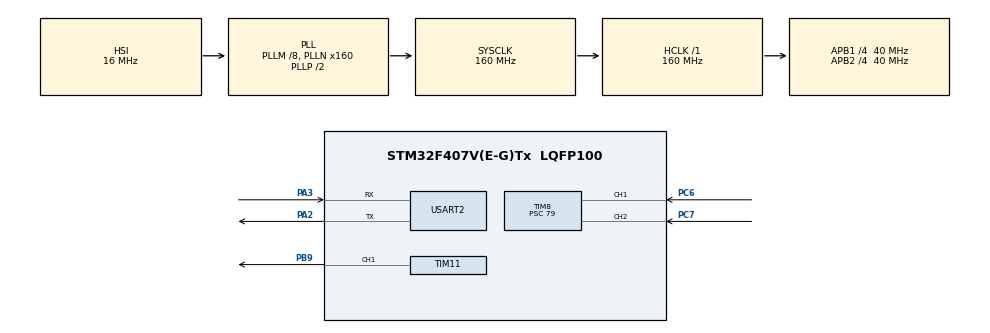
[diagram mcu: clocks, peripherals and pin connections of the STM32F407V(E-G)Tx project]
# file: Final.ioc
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Mcu.Family=STM32F4
Mcu.Name=STM32F407V(E-G)Tx
Mcu.Package=LQFP100
NVIC.PriorityGroup=NVIC_PRIORITYGROUP_4
PA13.Mode=Serial_Wire
PA13.Signal=SYS_JTMS-SWDIO
PA14.Mode=Serial_Wire
PA14.Signal=SYS_JTCK-SWCLK
PA2.Mode=Asynchronous
PA2.Signal=USART2_TX
PA3.Mode=Asynchronous
PA3.Signal=USART2_RX
PB9.Signal=S_TIM11_CH1
PC6.Signal=S_TIM8_CH1
PC7.Signal=S_TIM8_CH2
PH0-OSC_IN.Mode=HSE-External-Oscillator
PH0-OSC_IN.Signal=RCC_OSC_IN
PH1-OSC_OUT.Mode=HSE-External-Oscillator
PH1-OSC_OUT.Signal=RCC_OSC_OUT
ProjectManager.HeapSize=0x200
ProjectManager.StackSize=0x400
ProjectManager.TargetToolchain=MDK-ARM V5
RCC.48MHZClocksFreq_Value=80000000
RCC.AHBFreq_Value=160000000
RCC.APB1CLKDivider=RCC_HCLK_DIV4
RCC.APB1Freq_Value=40000000
RCC.APB1TimFreq_Value=80000000
RCC.APB2CLKDivider=RCC_HCLK_DIV4
RCC.APB2Freq_Value=40000000
RCC.APB2TimFreq_Value=80000000
RCC.CortexFreq_Value=160000000
RCC.HCLKFreq_Value=160000000
RCC.HSE_VALUE=25000000
RCC.HSI_VALUE=16000000
RCC.LSE_VALUE=32768
RCC.PLLM=8
RCC.PLLN=160
RCC.SYSCLKFreq_VALUE=160000000
RCC.SYSCLKSource=RCC_SYSCLKSOURCE_PLLCLK
RCC.VCOOutputFreq_Value=320000000
SH.S_TIM11_CH1.0=TIM11_CH1,PWM Generation1 CH1
SH.S_TIM8_CH1.0=TIM8_CH1,Input_Capture1_from_TI1
SH.S_TIM8_CH2.0=TIM8_CH2,TriggerSource_TI2FP2
SH.S_TIM8_CH2.1=TIM8_CH2,Input_Capture2_from_TI2
TIM11.Channel=TIM_CHANNEL_1
TIM11.Period=39999
TIM11.Prescaler=199
TIM8.Channel-Input_Capture1_from_TI1=TIM_CHANNEL_1
TIM8.Channel-Input_Capture2_from_TI2=TIM_CHANNEL_2
TIM8.ICPolarity_CH1=TIM_INPUTCHANNELPOLARITY_BOTHEDGE
TIM8.ICPolarity_CH2=TIM_INPUTCHANNELPOLARITY_BOTHEDGE
TIM8.Period=65535
TIM8.Prescaler=79
USART2.VirtualMode=VM_ASYNC
VP_TIM11_VS_ClockSourceINT.Mode=Enable_Timer
VP_TIM8_VS_ControllerModeReset.Mode=Reset Mode
board=custom

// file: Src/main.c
/**
  ******************************************************************************
  * @file           : main.c
  * @brief          : Main program body
  ******************************************************************************
  ** This notice applies to any and all portions of this file
  * that are not between comment pairs USER CODE BEGIN and
  * USER CODE END. Other portions of this file, whether
  * inserted by the user or by software development tools
  * are owned by their respective copyright owners.
  *
  * COPYRIGHT(c) 2019 STMicroelectronics
  *
  * Redistribution and use in source and binary forms, with or without modification,
  * are permitted provided that the following conditions are met:
  *   1. Redistributions of source code must retain the above copyright notice,
  *      this list of conditions and the following disclaimer.
  *   2. Redistributions in binary form must reproduce the above copyright notice,
  *      this list of conditions and the following disclaimer in the documentation
  *      and/or other materials provided with the distribution.
  *   3. Neither the name of STMicroelectronics nor the names of its contributors
  *      may be used to endorse or promote products derived from this software
  *      without specific prior written permission.
  *
  * THIS SOFTWARE IS PROVIDED BY THE COPYRIGHT HOLDERS AND CONTRIBUTORS "AS IS"
  * AND ANY EXPRESS OR IMPLIED WARRANTIES, INCLUDING, BUT NOT LIMITED TO, THE
  * IMPLIED WARRANTIES OF MERCHANTABILITY AND FITNESS FOR A PARTICULAR PURPOSE ARE
  * DISCLAIMED. IN NO EVENT SHALL THE COPYRIGHT HOLDER OR CONTRIBUTORS BE LIABLE
  * FOR ANY DIRECT, INDIRECT, INCIDENTAL, SPECIAL, EXEMPLARY, OR CONSEQUENTIAL
  * DAMAGES (INCLUDING, BUT NOT LIMITED TO, PROCUREMENT OF SUBSTITUTE GOODS OR
  * SERVICES; LOSS OF USE, DATA, OR PROFITS; OR BUSINESS INTERRUPTION) HOWEVER
  * CAUSED AND ON ANY THEORY OF LIABILITY, WHETHER IN CONTRACT, STRICT LIABILITY,
  * OR TORT (INCLUDING NEGLIGENCE OR OTHERWISE) ARISING IN ANY WAY OUT OF THE USE
  * OF THIS SOFTWARE, EVEN IF ADVISED OF THE POSSIBILITY OF SUCH DAMAGE.
  *
  ******************************************************************************
  */
#include "main.h"
#include "stm32f4xx_hal.h"
#include "tim.h"
#include "usart.h"
#include "gpio.h"

/* USER CODE BEGIN Includes */
#include "stdio.h"
/* USER CODE END Includes */

/* USER CODE BEGIN PV */
/* Private variables ---------------------------------------------------------*/
#ifdef __GNU__
#define PUTCHAR_PROTOTYPE int __io_putchar(int ch)
#else
#define PUTCHAR_PROTOTYPE int fputc(int ch, FILE *f)
#endif

PUTCHAR_PROTOTYPE {
	HAL_UART_Transmit(&huart2, (uint8_t *)&ch, 1, 10);
	return ch;
}

uint32_t echo1, echo2, delay;
float dist1, dist2;
/* USER CODE END PV */

void SystemClock_Config(void);

/* USER CODE BEGIN PFP */
/* Private function prototypes -----------------------------------------------*/

/* USER CODE END PFP */

int main(void)
{

  /* MCU Configuration----------------------------------------------------------*/

  /* Reset of all peripherals, Initializes the Flash interface and the Systick. */
  HAL_Init();

  /* Configure the system clock */
  SystemClock_Config();

  /* Initialize all configured peripherals */
  MX_GPIO_Init();
  MX_USART2_UART_Init();
  MX_TIM11_Init();
  MX_TIM8_Init();
  /* USER CODE BEGIN 2 */
	HAL_TIM_Base_Start(&htim11);
	HAL_TIM_Base_Start(&htim11);
	HAL_TIM_PWM_Start(&htim11, TIM_CHANNEL_1);
	HAL_TIM_IC_Start(&htim8, TIM_CHANNEL_1);
	HAL_TIM_IC_Start(&htim8, TIM_CHANNEL_2);
	TIM11->CCR1 = 3;
  /* USER CODE END 2 */

  /* Infinite loop */
  /* USER CODE BEGIN WHILE */
  while (1)
  {
		if(HAL_GetTick() - delay >= 100)
		{
			delay = HAL_GetTick();
			echo1 = HAL_TIM_ReadCapturedValue(&htim8, TIM_CHANNEL_1);
			echo2 = HAL_TIM_ReadCapturedValue(&htim8, TIM_CHANNEL_2);
			dist1 = echo1 / 58.0f;
			dist2 = echo2 / 58.0f;
			printf("Echo1: %u Dis1: %.2f Echo2: %u Dis2: %.2f \r\n", echo1, dist1, echo2, dist2);
		}
  /* USER CODE END WHILE */

  }

}

void SystemClock_Config(void)
{

  RCC_OscInitTypeDef RCC_OscInitStruct;
  RCC_ClkInitTypeDef RCC_ClkInitStruct;

    /**Configure the main internal regulator output voltage
    */
  __HAL_RCC_PWR_CLK_ENABLE();

  __HAL_PWR_VOLTAGESCALING_CONFIG(PWR_REGULATOR_VOLTAGE_SCALE1);

    /**Initializes the CPU, AHB and APB busses clocks
    */
  RCC_OscInitStruct.OscillatorType = RCC_OSCILLATORTYPE_HSI;
  RCC_OscInitStruct.HSIState = RCC_HSI_ON;
  RCC_OscInitStruct.HSICalibrationValue = 16;
  RCC_OscInitStruct.PLL.PLLState = RCC_PLL_ON;
  RCC_OscInitStruct.PLL.PLLSource = RCC_PLLSOURCE_HSI;
  RCC_OscInitStruct.PLL.PLLM = 8;
  RCC_OscInitStruct.PLL.PLLN = 160;
  RCC_OscInitStruct.PLL.PLLP = RCC_PLLP_DIV2;
  RCC_OscInitStruct.PLL.PLLQ = 4;
  if (HAL_RCC_OscConfig(&RCC_OscInitStruct) != HAL_OK)
  {
    _Error_Handler(__FILE__, __LINE__);
  }

    /**Initializes the CPU, AHB and APB busses clocks
    */
  RCC_ClkInitStruct.ClockType = RCC_CLOCKTYPE_HCLK|RCC_CLOCKTYPE_SYSCLK
                              |RCC_CLOCKTYPE_PCLK1|RCC_CLOCKTYPE_PCLK2;
  RCC_ClkInitStruct.SYSCLKSource = RCC_SYSCLKSOURCE_PLLCLK;
  RCC_ClkInitStruct.AHBCLKDivider = RCC_SYSCLK_DIV1;
  RCC_ClkInitStruct.APB1CLKDivider = RCC_HCLK_DIV4;
  RCC_ClkInitStruct.APB2CLKDivider = RCC_HCLK_DIV4;

  if (HAL_RCC_ClockConfig(&RCC_ClkInitStruct, FLASH_LATENCY_5) != HAL_OK)
  {
    _Error_Handler(__FILE__, __LINE__);
  }

    /**Configure the Systick interrupt time
    */
  HAL_SYSTICK_Config(HAL_RCC_GetHCLKFreq()/1000);

    /**Configure the Systick
    */
  HAL_SYSTICK_CLKSourceConfig(SYSTICK_CLKSOURCE_HCLK);

  /* SysTick_IRQn interrupt configuration */
  HAL_NVIC_SetPriority(SysTick_IRQn, 0, 0);
}

void _Error_Handler(char *file, int line)
{
  while(1)
  {
  }
}

/************************ (C) COPYRIGHT STMicroelectronics *****END OF FILE****/
